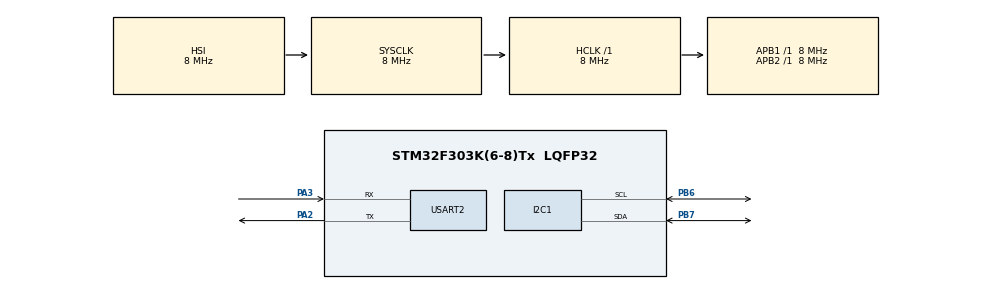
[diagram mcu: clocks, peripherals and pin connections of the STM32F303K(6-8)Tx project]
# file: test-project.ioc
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Mcu.Family=STM32F3
Mcu.Name=STM32F303K(6-8)Tx
Mcu.Package=LQFP32
NVIC.PriorityGroup=NVIC_PRIORITYGROUP_4
PA2.Mode=Asynchronous
PA2.Signal=USART2_TX
PA3.Mode=Asynchronous
PA3.Signal=USART2_RX
PB6.Mode=I2C
PB6.Signal=I2C1_SCL
PB7.Mode=I2C
PB7.Signal=I2C1_SDA
ProjectManager.HeapSize=0x200
ProjectManager.StackSize=0x400
ProjectManager.TargetToolchain=STM32CubeIDE
RCC.AHBFreq_Value=8000000
RCC.APB1Freq_Value=8000000
RCC.APB2Freq_Value=8000000
RCC.CortexFreq_Value=8000000
RCC.HSE_VALUE=8000000
RCC.HSI_VALUE=8000000
RCC.SYSCLKFreq_VALUE=8000000
USART2.VirtualMode-Asynchronous=VM_ASYNC
board=custom

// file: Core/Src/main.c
/* USER CODE BEGIN Header */
/**
  ******************************************************************************
  * @file           : main.c
  * @brief          : Main program body
  ******************************************************************************
  * @attention
  *
  * Copyright (c) 2021 STMicroelectronics.
  * All rights reserved.
  *
  * This software is licensed under terms that can be found in the LICENSE file
  * in the root directory of this software component.
  * If no LICENSE file comes with this software, it is provided AS-IS.
  *
  ******************************************************************************
  */
/* USER CODE END Header */
#include "main.h"

/* USER CODE BEGIN PD */
#define BMP180_READ 				0xEF
#define BMP180_WRITE 				0xEE

#define BMP180_CTRL_REG				0xF4
#define BMP180_OUT_MSB				0xF6
#define BMP180_OUT_LSB				0xF7
#define BMP180_OUT_XLSB				0xF8
#define TEMP_CTRL_REG 				0x2E
#define PRES_CTRL_REG				0x34
#define CALIBRATION_DATA_BASE_ADDR	0xAA

#define BMP180_PRES_OSS				0x00	// Can be 0, 1, 2 or 3

#define AC1							(int16_t)calibration_data[0]
#define AC2							(int16_t)calibration_data[1]
#define AC3							(int16_t)calibration_data[2]
#define AC4							calibration_data[3]
#define AC5							calibration_data[4]
#define AC6							calibration_data[5]
#define B1							(int16_t)calibration_data[6]
#define B2							(int16_t)calibration_data[7]
#define MB							(int16_t)calibration_data[8]
#define MC							(int16_t)calibration_data[9]
#define MD							(int16_t)calibration_data[10]

/* USER CODE END PD */

I2C_HandleTypeDef hi2c1;

UART_HandleTypeDef huart2;

/* USER CODE BEGIN PV */
uint16_t calibration_data[11];
/* USER CODE END PV */

void SystemClock_Config(void);
static void MX_GPIO_Init(void);
static void MX_I2C1_Init(void);
static void MX_USART2_UART_Init(void);
/* USER CODE BEGIN PFP */
int32_t bmp180_calpressure(int32_t upres, int32_t temp);
int32_t bmp180_caltemperature(int32_t utemp);
/* USER CODE END PFP */

int main(void)
{
  /* USER CODE BEGIN 1 */
  unsigned char msg[70];
  unsigned char buf[3];
  HAL_StatusTypeDef ret;

  /* USER CODE END 1 */

  /* MCU Configuration--------------------------------------------------------*/

  /* Reset of all peripherals, Initializes the Flash interface and the Systick. */
  HAL_Init();

  /* Configure the system clock */
  SystemClock_Config();

  /* Initialize all configured peripherals */
  MX_GPIO_Init();
  MX_I2C1_Init();
  MX_USART2_UART_Init();
  /* USER CODE BEGIN 2 */

  // Read calibration values
  for (int i = 0; i < 11; i++) {

	  buf[0] = CALIBRATION_DATA_BASE_ADDR + 2 * i;
	  buf[1] = buf[0] + 1;

	  ret = HAL_I2C_Master_Transmit(&hi2c1, BMP180_WRITE, buf, 2, HAL_MAX_DELAY);

	  if (ret == HAL_OK) {
		  ret = HAL_I2C_Master_Receive(&hi2c1, BMP180_READ, buf, 2, HAL_MAX_DELAY);
		  if (ret == HAL_OK) {
			  calibration_data[i] = buf[1] + (buf[0] << 8);
			  sprintf(msg, "Read calibration value %d: %X", i, calibration_data[i]);
			  HAL_UART_Transmit(&huart2, msg, 8, 100);
		  }
	  }
  }

  int32_t utemp;
  int32_t temp;

  int32_t upres;
  int32_t pres;
  /* USER CODE END 2 */

  /* Infinite loop */
  /* USER CODE BEGIN WHILE */
  while (1)
  {
	  // Read temperature
	  buf[0] = BMP180_CTRL_REG;
	  buf[1] = TEMP_CTRL_REG;

	  ret = HAL_I2C_Master_Transmit(&hi2c1, BMP180_WRITE, buf, 2, HAL_MAX_DELAY);
	  HAL_Delay(5);

	  if (ret == HAL_OK) {
		  buf[0] = BMP180_OUT_MSB;
		  ret = HAL_I2C_Master_Transmit(&hi2c1, BMP180_WRITE, buf, 1, HAL_MAX_DELAY);
		  if (ret == HAL_OK) {
			  ret = HAL_I2C_Master_Receive(&hi2c1, BMP180_READ, buf, 2, HAL_MAX_DELAY);
			  utemp = (buf[0] << 8) + buf[1];
			  temp = bmp180_caltemperature(utemp);
		  }
	  }

	  // Read pressure
	  buf[0] = BMP180_CTRL_REG;
	  buf[1] = PRES_CTRL_REG + (BMP180_PRES_OSS << 6);

	  ret = HAL_I2C_Master_Transmit(&hi2c1, BMP180_WRITE, buf, 2, HAL_MAX_DELAY);
	  HAL_Delay(5);
	  if (ret == HAL_OK) {
		  buf[0] = BMP180_OUT_MSB;
		  ret = HAL_I2C_Master_Transmit(&hi2c1, BMP180_WRITE, buf, 1, HAL_MAX_DELAY);
		  if (ret == HAL_OK) {
			  ret = HAL_I2C_Master_Receive(&hi2c1, BMP180_READ, buf, 2, HAL_MAX_DELAY);
			  upres = ((buf[0] << 16) + (buf[1] << 8)) >> ( 8 - BMP180_PRES_OSS);
			  pres = bmp180_calpressure(upres, temp);
		  }
	  }
	  sprintf(msg, "Temp: %ld, Pres: %ld\r\n", temp, pres);
	  HAL_UART_Transmit(&huart2, msg, strlen(msg), 100);

  }
}

void SystemClock_Config(void)
{
  RCC_OscInitTypeDef RCC_OscInitStruct = {0};
  RCC_ClkInitTypeDef RCC_ClkInitStruct = {0};
  RCC_PeriphCLKInitTypeDef PeriphClkInit = {0};

  /** Initializes the RCC Oscillators according to the specified parameters
  * in the RCC_OscInitTypeDef structure.
  */
  RCC_OscInitStruct.OscillatorType = RCC_OSCILLATORTYPE_HSI;
  RCC_OscInitStruct.HSIState = RCC_HSI_ON;
  RCC_OscInitStruct.HSICalibrationValue = RCC_HSICALIBRATION_DEFAULT;
  RCC_OscInitStruct.PLL.PLLState = RCC_PLL_NONE;
  if (HAL_RCC_OscConfig(&RCC_OscInitStruct) != HAL_OK)
  {
    Error_Handler();
  }
  /** Initializes the CPU, AHB and APB buses clocks
  */
  RCC_ClkInitStruct.ClockType = RCC_CLOCKTYPE_HCLK|RCC_CLOCKTYPE_SYSCLK
                              |RCC_CLOCKTYPE_PCLK1|RCC_CLOCKTYPE_PCLK2;
  RCC_ClkInitStruct.SYSCLKSource = RCC_SYSCLKSOURCE_HSI;
  RCC_ClkInitStruct.AHBCLKDivider = RCC_SYSCLK_DIV1;
  RCC_ClkInitStruct.APB1CLKDivider = RCC_HCLK_DIV1;
  RCC_ClkInitStruct.APB2CLKDivider = RCC_HCLK_DIV1;

  if (HAL_RCC_ClockConfig(&RCC_ClkInitStruct, FLASH_LATENCY_0) != HAL_OK)
  {
    Error_Handler();
  }
  PeriphClkInit.PeriphClockSelection = RCC_PERIPHCLK_I2C1;
  PeriphClkInit.I2c1ClockSelection = RCC_I2C1CLKSOURCE_HSI;
  if (HAL_RCCEx_PeriphCLKConfig(&PeriphClkInit) != HAL_OK)
  {
    Error_Handler();
  }
}

static void MX_I2C1_Init(void)
{

  hi2c1.Instance = I2C1;
  hi2c1.Init.Timing = 0x2000090E;
  hi2c1.Init.OwnAddress1 = 0;
  hi2c1.Init.AddressingMode = I2C_ADDRESSINGMODE_7BIT;
  hi2c1.Init.DualAddressMode = I2C_DUALADDRESS_DISABLE;
  hi2c1.Init.OwnAddress2 = 0;
  hi2c1.Init.OwnAddress2Masks = I2C_OA2_NOMASK;
  hi2c1.Init.GeneralCallMode = I2C_GENERALCALL_DISABLE;
  hi2c1.Init.NoStretchMode = I2C_NOSTRETCH_DISABLE;
  if (HAL_I2C_Init(&hi2c1) != HAL_OK)
  {
    Error_Handler();
  }
  /** Configure Analogue filter
  */
  if (HAL_I2CEx_ConfigAnalogFilter(&hi2c1, I2C_ANALOGFILTER_ENABLE) != HAL_OK)
  {
    Error_Handler();
  }
  /** Configure Digital filter
  */
  if (HAL_I2CEx_ConfigDigitalFilter(&hi2c1, 0) != HAL_OK)
  {
    Error_Handler();
  }

}

static void MX_USART2_UART_Init(void)
{

  huart2.Instance = USART2;
  huart2.Init.BaudRate = 38400;
  huart2.Init.WordLength = UART_WORDLENGTH_8B;
  huart2.Init.StopBits = UART_STOPBITS_1;
  huart2.Init.Parity = UART_PARITY_NONE;
  huart2.Init.Mode = UART_MODE_TX_RX;
  huart2.Init.HwFlowCtl = UART_HWCONTROL_NONE;
  huart2.Init.OverSampling = UART_OVERSAMPLING_16;
  huart2.Init.OneBitSampling = UART_ONE_BIT_SAMPLE_DISABLE;
  huart2.AdvancedInit.AdvFeatureInit = UART_ADVFEATURE_NO_INIT;
  if (HAL_UART_Init(&huart2) != HAL_OK)
  {
    Error_Handler();
  }

}

static void MX_GPIO_Init(void)
{

  /* GPIO Ports Clock Enable */
  __HAL_RCC_GPIOA_CLK_ENABLE();
  __HAL_RCC_GPIOB_CLK_ENABLE();

}

/* USER CODE BEGIN 4 */
int32_t bmp180_calpressure(int32_t upres, int32_t temp) {
	int32_t pres, x1, x2;

	int32_t b5 = temp * (1 << 4) - 8;

	int32_t b6 = b5 - 4000;
	x1 = (B2 * (b6 * b6 / (1 << 12))) / (1 << 11);
	x2 = AC2 * b6 / (1 << 11);
	int32_t x3 = x1 + x2;
	int32_t b3 = (((AC1 * 4 + x3) << BMP180_PRES_OSS) + 2) / 4;
	x1 = AC3 * b6 / (1 << 13);
	x2 = (B1 * (b6 * b6 / (1 << 12))) / (1 << 16);
	x3 = ((x1 + x2) + 2) / 4;
	uint32_t b4 = AC4 * (unsigned long)(x3 + 32768) / (1 << 15);
	uint32_t b7 = ((unsigned long)upres - b3) * (50000 >> BMP180_PRES_OSS);
	if (b7 < 0x80000000) {
	  pres = (b7 * 2) / b4;
	}
	else {
	  pres = (b7 / b4) * 2;
	}
	x1 = (pres / (1 << 8)) * (pres / (1 << 8));
	x1 = (x1 * 3038) / (1 << 16);
	x2 = (-7357 * pres) / (1 << 16);
	pres = pres + (x1 + x2 + 3791) / (1 << 4);

	return pres;
}

int32_t bmp180_caltemperature(int32_t utemp) {
	int32_t x1, x2, b5;

	x1 = (utemp - AC6) * AC5 / (1 << 15);
	x2 = (MC * (1 << 11)) / (x1 + MD);
	b5 = x1 + x2;
	int32_t temp = (b5 + 8) / (1 << 4);

	return temp;
}
/* USER CODE END 4 */

void Error_Handler(void)
{
  __disable_irq();
  while (1)
  {
  }
}
